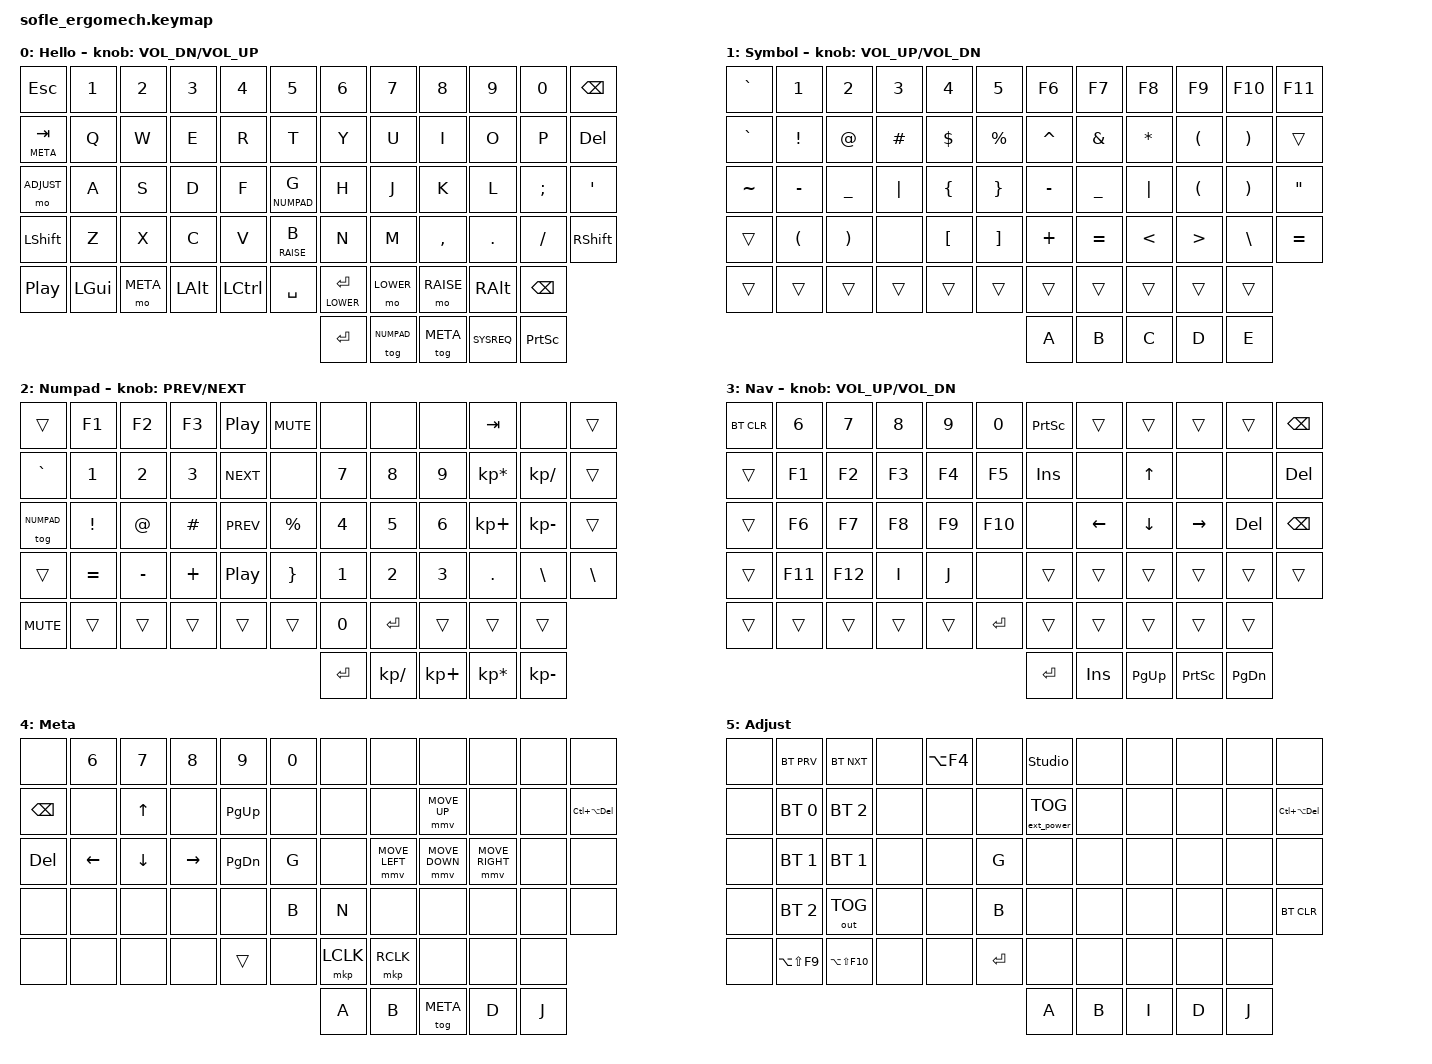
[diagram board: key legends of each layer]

#define ZMK_POINTING_DEFAULT_MOVE_VAL 600  // default: 600
#define ZMK_POINTING_DEFAULT_SCRL_VAL 10    // default: 10

#include <behaviors.dtsi>
#include <dt-bindings/zmk/bt.h>
#include <dt-bindings/zmk/ext_power.h>
#include <dt-bindings/zmk/keys.h>
#include <dt-bindings/zmk/outputs.h>
#include <dt-bindings/zmk/pointing.h>

#define BASE 0
#define LOWER 1
#define NUMPAD  2
#define RAISE 3
#define META 4
#define ADJUST 5

&lt {
	tapping-term-ms = <150>;
	flavor = "hold-preferred";
}; 

// 5-way config: PRESS, RIGHT, UP, LEFT, DOWN
/ {
   	behaviors {
        klt: key_layer_mods {
            compatible = "zmk,behavior-hold-tap";
            label = "ALPHA_LAYER_TAP";
			#binding-cells = <2>;
            tapping-term-ms = <225>;
            require-prior-idle-ms = <125>;
            quick_tap_ms = <0>;
            flavor = "tap-preferred";
            bindings = <&mo>, <&kp>;
        };
		hm: homerow_mods {
            compatible = "zmk,behavior-hold-tap";
            label = "HOMEROW_MODS";
			#binding-cells = <2>;
            tapping-term-ms = <225>;
            quick-tap-ms = <0>;
            flavor = "tap-preferred";
            bindings = <&kp>, <&kp>;
        };	
    };

    keymap {
        compatible = "zmk,keymap";

        default_layer {
            label = "Hello";

            bindings = <
&kp ESC           &kp N1    &kp N2    &kp N3     &kp N4     &kp N5             &kp N6         &kp N7      &kp N8        &kp N9      &kp N0    &kp BSPC
&klt META TAB     &kp Q     &kp W     &kp E      &kp R      &kp T              &kp Y          &kp U       &kp I         &kp O       &kp P     &kp DEL
&mo ADJUST        &kp A     &kp S     &kp D      &kp F      &klt NUMPAD G      &kp H          &kp J       &kp K         &kp L       &kp SEMI  &kp SQT
&kp LSHFT         &kp Z     &kp X     &kp C      &kp V      &klt RAISE B       &kp N          &kp M       &kp COMMA     &kp DOT     &kp FSLH  &kp RSHFT
&kp C_PP          &kp LGUI  &mo META  &kp LALT   &kp LCTRL  &kp SPACE          &lt LOWER RET  &mo LOWER   &mo RAISE     &kp RALT    &kp BSPC
                                                                         &kp ENTER      &tog NUMPAD &tog META     &kp SYSREQ  &kp PRINTSCREEN
            >;

            sensor-bindings = <&inc_dec_kp C_VOL_DN C_VOL_UP>;
        };

        lower_layer {
            label = "Symbol";

            bindings = <
&kp GRAVE  &kp N1     &kp N2     &kp N3    &kp N4      &kp N5        &kp F6     &kp F7    &kp F8     &kp F9     &kp F10    &kp F11
&kp GRAVE  &kp EXCL   &kp AT     &kp HASH  &kp DOLLAR  &kp PRCNT     &kp CARET  &kp AMPS  &kp STAR   &kp LPAR   &kp RPAR   &trans
&kp TILDE  &kp MINUS  &kp UNDER  &kp PIPE  &kp LBRC    &kp RBRC      &kp MINUS  &kp UNDER &kp PIPE   &kp LPAR   &kp RPAR   &kp DQT
&trans     &kp LPAR   &kp RPAR   &none     &kp LBKT    &kp RBKT      &kp PLUS   &kp EQUAL &kp LT     &kp GT     &kp BSLH   &kp EQUAL
&trans     &trans     &trans     &trans    &trans    &trans        &trans     &trans    &trans     &trans     &trans
                                                                   &kp A      &kp B     &kp C      &kp D      &kp E
            >;

            sensor-bindings = <&inc_dec_kp C_VOL_UP C_VOL_DN>;
        };

        numpad_layer {
            label = "Numpad";

            bindings = <
&trans      &kp F1     &kp F2     &kp F3    &kp C_PP    &kp C_MUTE      &none    &none   &none   &kp TAB         &none           &trans
&kp GRAVE   &kp N1     &kp N2     &kp N3    &kp C_NEXT  &none           &kp N7   &kp N8  &kp N9  &kp KP_ASTERISK &kp KP_SLASH    &trans
&tog NUMPAD &kp EXCL   &kp AT     &kp HASH  &kp C_PREV  &kp PRCNT       &kp N4   &kp N5  &kp N6  &kp KP_PLUS     &kp KP_MINUS    &trans
&trans      &kp EQUAL  &kp MINUS  &kp PLUS  &kp C_PP    &kp RBRC        &kp N1   &kp N2  &kp N3  &kp DOT         &kp BSLH        &kp BSLH
&kp C_MUTE  &trans     &trans     &trans    &trans      &trans        &kp N0     &kp RET  &trans  &trans          &trans
                                                                     &kp RET     &kp KP_SLASH     &kp KP_PLUS      &kp KP_ASTERISK      &kp KP_MINUS
            >;

            sensor-bindings = <&inc_dec_kp C_PREV C_NEXT>;
        };

        raise_layer {
            label = "Nav";

            bindings = <
&bt BT_CLR  &kp N6  &kp N7  &kp N8  &kp N9  &kp N0                &kp PSCRN  &trans    &trans    &trans     &trans   &kp BSPC
&trans      &kp F1  &kp F2  &kp F3  &kp F4  &kp F5                &kp INS    &none     &kp UP    &none      &none    &kp DEL
&trans      &kp F6  &kp F7  &kp F8  &kp F9  &kp F10               &none      &kp LEFT  &kp DOWN  &kp RIGHT  &kp DEL  &kp BSPC
&trans      &kp F11 &kp F12 &kp I   &kp J   &none                 &trans     &trans    &trans    &trans     &trans   &trans
&trans      &trans    &trans    &trans    &trans   &kp RET      &trans     &trans    &trans    &trans     &trans
                                                                                  &kp RET      &kp INS     &kp PG_UP     &kp PSCRN      &kp PG_DN
            >;

            sensor-bindings = <&inc_dec_kp C_VOL_UP C_VOL_DN>;  
        };

        meta_layer {

            label = "Meta";
            bindings = <
&none           &kp N6     &kp N7      &kp N8          &kp N9           &kp N0             &none     &none           &none           &none            &none  &none
&kp BSPC        &none      &kp UP     &none            &kp PG_UP        &none            &none     &none           &mmv MOVE_UP    &none            &none  &kp LC(LA(DEL))
&kp DEL         &kp LEFT   &kp DOWN   &kp RIGHT        &kp PG_DN        &kp G            &none     &mmv MOVE_LEFT  &mmv MOVE_DOWN  &mmv MOVE_RIGHT  &none  &none
&none           &none      &none      &none            &none            &kp B            &kp N     &none           &none           &none            &none  &none
&none           &none      &none      &none            &trans           &none            &mkp LCLK &mkp RCLK  &none  &none  &none
                                                                                                        &kp A  &kp B  &tog META  &kp D  &kp J
            >;
        };

        adjust_layer {

            label = "Adjust";
            bindings = <
&none        &bt BT_PRV    &bt BT_NXT       &none            &kp LA(F4)       &none               &studio_unlock     &none       &none  &none  &none  &none
&none        &bt BT_SEL 0  &bt BT_SEL 2     &none            &none            &none               &ext_power EP_TOG  &none       &none  &none  &none  &kp LC(LA(DEL))
&none        &bt BT_SEL 1  &bt BT_SEL 1     &none            &none            &kp G               &none              &none       &none  &none  &none  &none
&none        &bt BT_SEL 2  &out OUT_TOG     &none            &none            &kp B               &none              &none       &none  &none  &none  &bt BT_CLR
&none        &kp LA(LS(F9))     &kp LA(LS(F10))      &none      &none            &kp RET        &none              &none       &none  &none  &none
                                                                                                        &kp A  &kp B  &kp I  &kp D  &kp J
            >;
        };
    };
};
